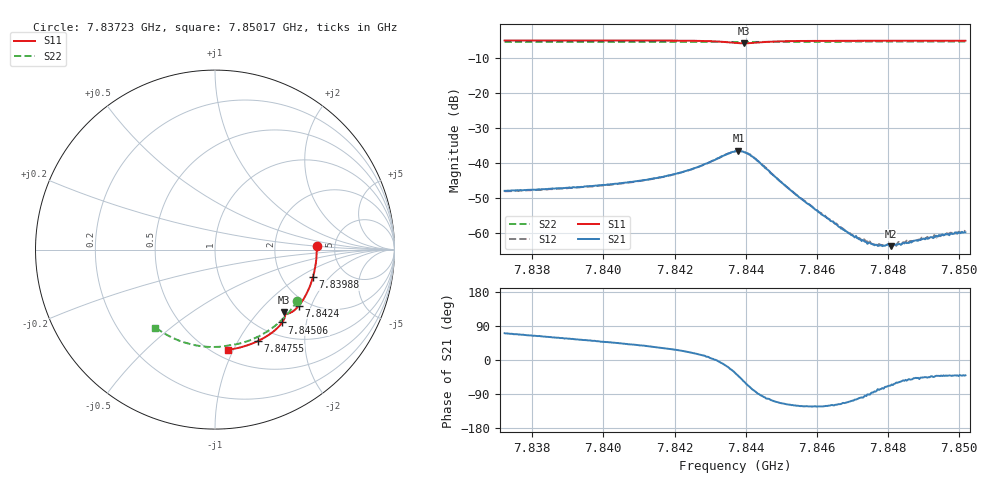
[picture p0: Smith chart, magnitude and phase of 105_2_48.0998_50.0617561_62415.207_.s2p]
#  HZ  S  RI  R  50.00
! Rohde & Schwarz Vector Network Analyzer
! Rohde-Schwarz,ZNB20-2Port,1311601062101988,3.16
! Created: UTC 12/23/2023, 3:45:11 AM
! freq[Hz]  re:S11  im:S11  re:S21  im:S21  re:S12  im:S12  re:S22  im:S22
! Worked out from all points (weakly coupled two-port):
!   401 points, 7.83723 GHz to 7.85017 GHz, reference 50 ohm
!   highest |S21| = -36.53 dB at 7.8438 GHz (marker M1); lowest = -63.9 dB at 7.84807 GHz (marker M2)
!   lowest |S11| = -5.7 dB at 7.84396 GHz (marker M3), VSWR 3.13, Z = 73 - j69.1 ohm
!   |S11| at or under -10 dB: nowhere
!   |S22| runs from -5.4 to -5.3 dB; largest |S21 - S12| = 0.00026
!   S11 on the Smith chart (normalised r, x): 7.83723 GHz: 3.60, +0.22; 7.83988 GHz: 2.94, -1.34; 7.8424 GHz: 1.80, -1.64; 7.84506 GHz: 1.25, -1.46; 7.84755 GHz: 0.81, -1.21; 7.85017 GHz: 0.58, -0.95
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7.837225e9  0.566 0.0205  0.00132 0.00375  0.00137 0.00368  0.4591 -0.2836
7.839394e9  0.5535 -0.1231  0.00271 0.00363  0.00268 0.00362  0.3627 -0.4007
7.83988e9  0.5454 -0.1548  0.00311 0.00362  0.00308 0.00357  0.3368 -0.423
7.841563e9  0.5015 -0.2613  0.00521 0.00337  0.00513 0.00337  0.2375 -0.4863
7.842405e9  0.4677 -0.3119  0.00738 0.00279  0.00733 0.00282  0.183 -0.5095
7.843214e9  0.4195 -0.3523  0.0116 -0.000533  0.0116 -0.000452  0.1282 -0.5251
7.843699e9  0.3856 -0.3543  0.0121 -0.00818  0.0122 -0.00796  0.0956 -0.5307
7.843796e9  0.3822 -0.3512  0.011 -0.0101  0.0108 -0.00996  0.0895 -0.5316
7.843958e9  0.3819 -0.3471  0.00767 -0.0119  0.00777 -0.012  0.0792 -0.5333
7.84425e9  0.3893 -0.3528  0.00171 -0.0115  0.00169 -0.0116  0.0605 -0.5367
7.845059e9  0.3749 -0.4059  -0.00208 -0.00451  -0.00213 -0.00453  0.00416 -0.5427
7.845868e9  0.3349 -0.4485  -0.00128 -0.00198  -0.00127 -0.00198  -0.053 -0.5411
7.846936e9  0.2746 -0.4907  -0.000317 -0.000908  -0.00033 -0.000923  -0.1271 -0.5292
7.847195e9  0.2592 -0.4995  -0.000143 -0.000788  -0.000151 -0.000823  -0.1448 -0.5248
7.847551e9  0.2376 -0.5103  5.22e-05 -0.000684  4.84e-06 -0.000692  -0.1688 -0.518
7.847649e9  0.2317 -0.5131  7.68e-05 -0.000664  0.000114 -0.000663  -0.1752 -0.5159
7.847778e9  0.2239 -0.5165  0.000145 -0.000638  0.000137 -0.000659  -0.1838 -0.5128
7.848037e9  0.2076 -0.5233  0.000245 -0.000601  0.000235 -0.000608  -0.2009 -0.5066
7.848069e9  0.2057 -0.5242  0.000247 -0.000591  0.000249 -0.000609  -0.2032 -0.5058
7.848587e9  0.173 -0.5358  0.000454 -0.000551  0.000453 -0.000585  -0.2364 -0.4914
7.849494e9  0.1146 -0.551  0.000684 -0.000594  0.000676 -0.000631  -0.2923 -0.4608
7.850173e9  0.0698 -0.5582  0.00077 -0.000655  0.000792 -0.000692  -0.3316 -0.434
